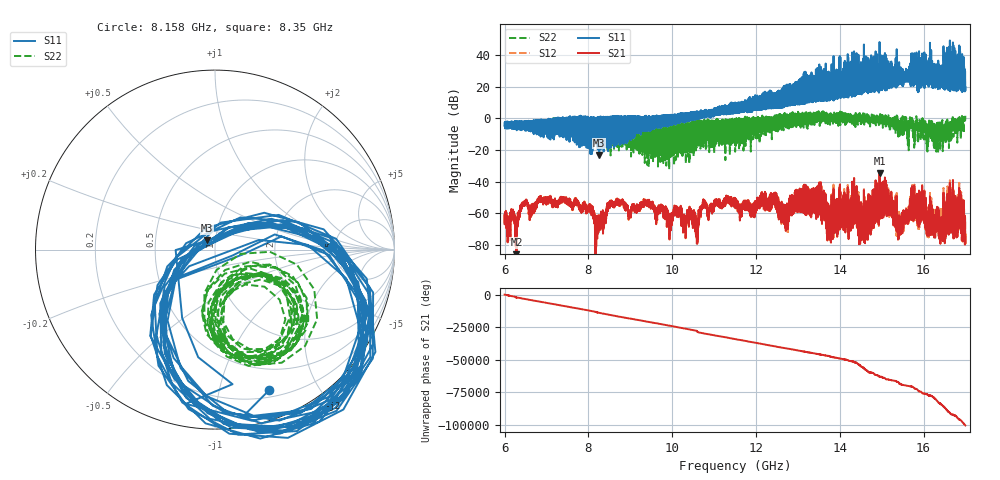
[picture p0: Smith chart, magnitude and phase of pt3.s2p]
#  HZ  S  RI  R  50.00
! Rohde & Schwarz Vector Network Analyzer
! Rohde-Schwarz,ZNA67-2Port,1332450062101215,3.01
! Created: UTC 10/26/2026, 3:54:06 PM
! freq[Hz]  re:S11  im:S11  re:S21  im:S21  re:S12  im:S12  re:S22  im:S22
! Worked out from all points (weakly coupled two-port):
!   11001 points, 6 GHz to 17 GHz, reference 50 ohm
!   highest |S21| = -34.62 dB at 14.95 GHz (marker M1); lowest = -88.5 dB at 6.282 GHz (marker M2)
!   lowest |S11| = -23.2 dB at 8.259 GHz (marker M3), VSWR 1.15, Z = 45.3 + j4.63 ohm
!   |S11| at or under -10 dB: 7.721839 GHz to 7.72401 GHz (2.17 MHz wide, 0.0281 % of centre); 7.779994 GHz to 7.782139 GHz (2.145 MHz wide, 0.0276 % of centre); 7.98996 GHz to 7.992181 GHz (2.22 MHz wide, 0.0278 % of centre) (the widest 3 of 179)
!   |S22| runs from -32.3 to 4.5 dB; largest |S21 - S12| = 0.0086
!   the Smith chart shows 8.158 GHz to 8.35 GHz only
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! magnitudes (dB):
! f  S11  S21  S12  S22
! 6 GHz  -4.8  -61.2  -61.2  -4.8
! 6.282 GHz  -2.3  -88.5  -85.1  -4.4
! 6.481 GHz  -1.7  -54.2  -54.3  -3.3
! 7.834 GHz  1.4  -58.3  -58.3  -2.3
! 8.259 GHz  -23.2  -67.2  -66.8  -10.0
! 8.681 GHz  -4.6  -53.7  -53.7  -18.3
! 9.667 GHz  -1.1  -58.3  -58.2  -5.0
! 10.59 GHz  -0.6  -79.0  -76.6  -4.0
! 10.75 GHz  1.8  -55.4  -55.5  -1.6
! 11.5 GHz  3.8  -55.3  -55.2  -1.9
! 12.43 GHz  6.8  -53.3  -53.0  0.7
! 12.72 GHz  19.1  -56.2  -56.9  -3.6
! 13.33 GHz  12.4  -59.1  -59.1  -1.6
! 14.35 GHz  15.6  -62.9  -63.5  0.6
! 14.52 GHz  20.7  -66.0  -64.9  -2.1
! 14.95 GHz  48.2  -34.6  -35.3  0.0
! 15.17 GHz  22.2  -59.3  -59.9  -0.4
! 15.42 GHz  35.5  -61.4  -59.1  -2.9
! 15.77 GHz  26.6  -57.7  -58.9  -4.7
! 16.42 GHz  26.6  -66.6  -66.0  -7.7
! 16.85 GHz  19.5  -68.0  -67.7  -3.2
! 17 GHz  19.6  -74.8  -72.7  1.6
